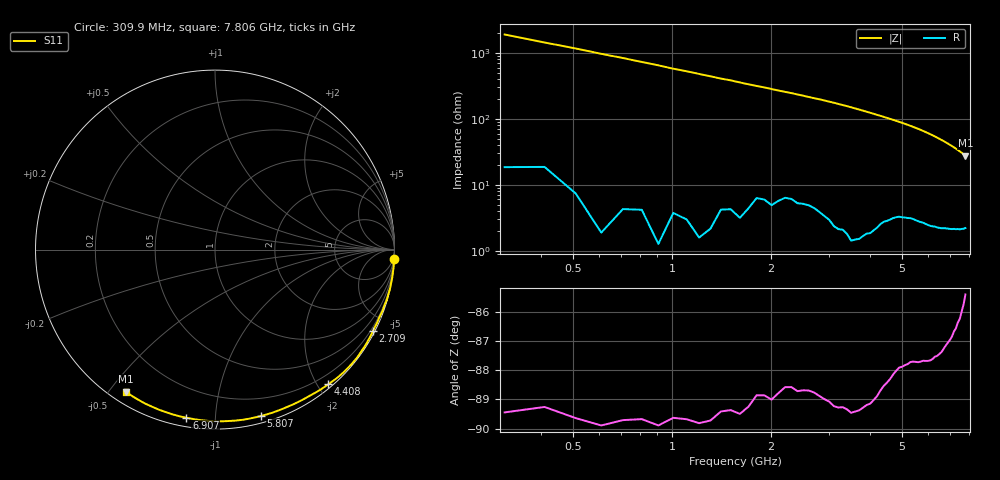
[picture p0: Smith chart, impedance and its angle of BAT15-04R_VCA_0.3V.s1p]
! Infineon Technologies  Discrete & RF Semiconductors
! BAT15-04R
! VCA = 0.3 V
! One-Port S-Parameters
# Hz  S  MA  R  50
!f  S11
!Hz  Mag  Ang
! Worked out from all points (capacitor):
!   76 points, 309.9 MHz to 7.806 GHz, reference 50 ohm
!   read as one part to ground: C = 269 fF near 309.9 MHz
!   lowest |Z| = 27.7 ohm at 7.806 GHz (marker M1)
!   S11 on the Smith chart (normalised r, x): 309.9 MHz: 0, -38; 2.709 GHz: 0.09, -4.12; 4.408 GHz: 0.05, -2.14; 5.807 GHz: 0.05, -1.31; 6.907 GHz: 0.04, -0.84; 7.806 GHz: 0.04, -0.55
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3.0985e8  0.9995 -3.0
9.0955e8  0.9997 -8.8
1.30935e9  0.9989 -12.9
1.6092e9  0.9976 -15.9
2.009e9  0.9941 -20.0
2.2089e9  0.9907 -22.0
2.70865e9  0.9902 -27.3
2.90855e9  0.9913 -29.4
3.2084e9  0.9931 -33.0
3.6082e9  0.9937 -38.3
3.90805e9  0.9905 -42.5
4.10795e9  0.9879 -45.4
4.4078e9  0.9806 -50.0
4.70765e9  0.9739 -54.6
5.0075e9  0.9686 -59.6
5.30735e9  0.9646 -64.9
5.6072e9  0.9632 -70.6
5.8071e9  0.9616 -74.6
6.007e9  0.9611 -78.8
6.2069e9  0.9595 -83.2
6.50675e9  0.9564 -90.1
6.70665e9  0.9535 -94.8
6.90655e9  0.9506 -99.6
7.10645e9  0.9481 -104.5
7.30635e9  0.945 -109.4
7.50625e9  0.942 -114.5
7.70615e9  0.9375 -119.5
7.8061e9  0.9344 -122.2
